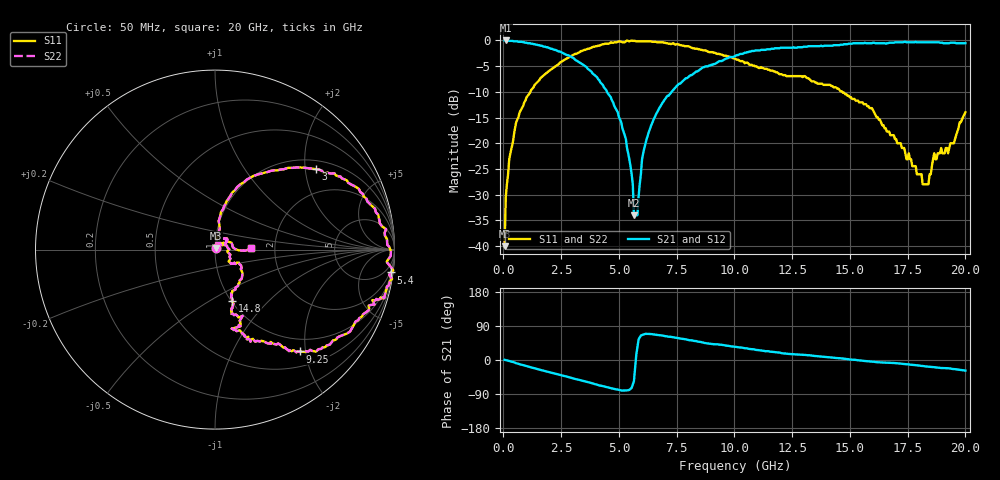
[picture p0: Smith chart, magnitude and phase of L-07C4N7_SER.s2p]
#	mhz	s	ma	r	50
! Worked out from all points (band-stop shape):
!   400 points, 50 MHz to 20 GHz, reference 50 ohm
!   highest |S21| = 0.00 dB at 100 MHz (marker M1); lowest = -34.0 dB at 5.65 GHz (marker M2)
!   |S21| within 3 dB of the highest: start of sweep to 2.86 GHz; 10.04 GHz to end of sweep
!   lowest |S11| = -40.0 dB at 50 MHz (marker M3), VSWR 1.02, Z = 50.4 + j0.914 ohm
!   |S11| at or under -10 dB: start of sweep to 1.166 GHz; 14.67 GHz to end of sweep
!   |S22| runs from -40.0 to 0.0 dB; largest |S21 - S12| = 0
!   S11 on the Smith chart (normalised r, x): 50 MHz: 1.01, +0.02; 3 GHz: 1.23, +2.29; 5.4 GHz: 1, -15; 9.25 GHz: 0.76, -1.90; 14.8 GHz: 1.01, -0.63; 20 GHz: 1.50, +0.02
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50  0.01 65.0  1 0.5  1 0.5  0.01 65.0
100  0.03 71.8  1 -0.2  1 -0.2  0.03 71.8
550  0.16 82.7  0.98 -8.5  0.98 -8.5  0.16 82.7
1000  0.28 76.3  0.95 -16.1  0.95 -16.1  0.28 76.3
3000  0.72 38.5  0.68 -48.3  0.68 -48.3  0.72 38.5
3400  0.79 31.6  0.59 -54.6  0.59 -54.6  0.79 31.6
4650  0.96 6.8  0.28 -74.4  0.28 -74.4  0.96 6.8
5400  0.99 -7.4  0.08 -79.6  0.08 -79.6  0.99 -7.4
5600  0.99 -10.2  0.04 -64.6  0.04 -64.6  0.99 -10.2
5650  0.99 -11.0  0.02 -55.7  0.02 -55.7  0.99 -11.0
5800  0.98 -12.5  0.02 33.7  0.02 33.7  0.98 -12.5
6100  0.98 -15.8  0.09 68.1  0.09 68.1  0.98 -15.8
6700  0.96 -16.2  0.21 65.8  0.21 65.8  0.96 -16.2
9250  0.74 -50.1  0.61 41.6  0.61 41.6  0.74 -50.1
10050  0.66 -55.3  0.71 34.7  0.71 34.7  0.66 -55.3
13350  0.4 -67.4  0.88 11.7  0.88 11.7  0.4 -67.4
14800  0.3 -71.2  0.92 3.0  0.92 3.0  0.3 -71.2
16700  0.13 -37.3  0.95 -7.4  0.95 -7.4  0.13 -37.3
18400  0.04 37.1  0.96 -17.7  0.96 -17.7  0.04 37.1
18650  0.08 35.3  0.96 -18.9  0.96 -18.9  0.08 35.3
19250  0.08 34.2  0.94 -21.8  0.94 -21.8  0.08 34.2
20000  0.2 2.1  0.94 -27.9  0.94 -27.9  0.2 2.1
